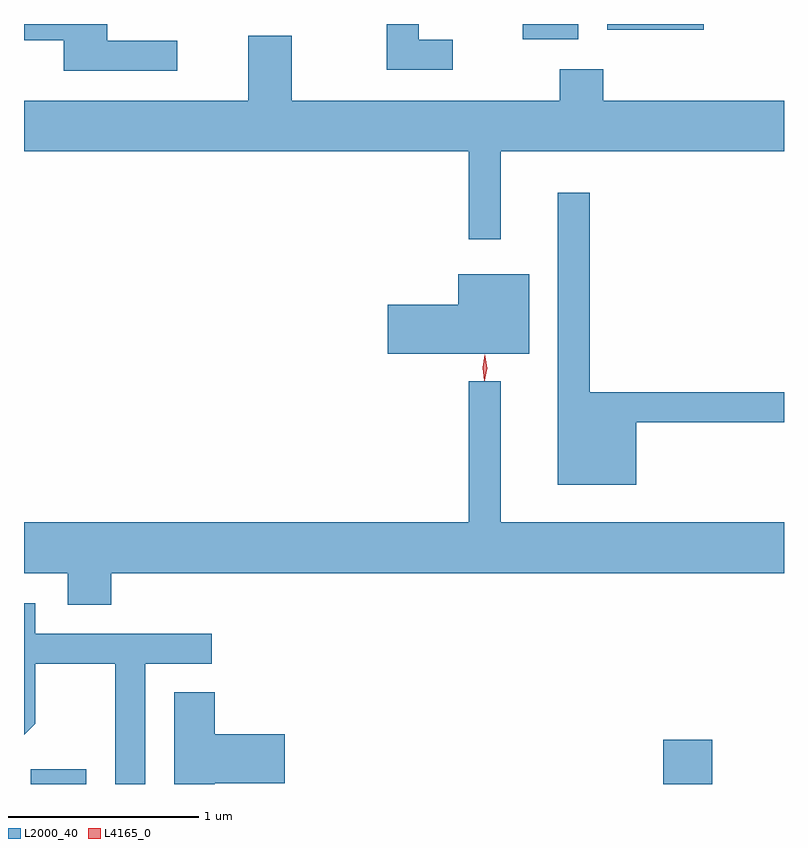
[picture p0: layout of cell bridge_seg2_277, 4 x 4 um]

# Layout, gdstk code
import gdstk
lib = gdstk.Library(unit=1e-6, precision=1e-09)
def R(c, l, rs):  # rectangles x0, y0, x1, y1
    for r in rs: c.add(gdstk.rectangle(r[:2], r[2:], *l))
def P(c, l, *ps):  # polygons
    for p in ps: c.add(gdstk.Polygon(p, *l))
L2000_40 = (2000, 40)
L4165_0 = (4165, 0)

bridge_seg2_277 = lib.new_cell('bridge_seg2_277')
R(bridge_seg2_277, L2000_40, [(596.366,1060.527,596.659,1060.604), (599.696,1060.527,599.954,1060.759), (598.956,1064.446,599.249,1064.527), (599.401,1064.496,599.908,1064.527)])
P(bridge_seg2_277, L2000_40, [(597.138,1064.439),(596.769,1064.439),(596.769,1064.527),(596.331,1064.527),(596.331,1064.441),(596.541,1064.441),(596.541,1064.281),(597.138,1064.281)],
  [(598.588,1064.444),(598.409,1064.444),(598.409,1064.527),(598.241,1064.527),(598.241,1064.286),(598.588,1064.286)],
  [(598.839,1063.856),(600.331,1063.856),(600.331,1064.124),(599.379,1064.124),(599.379,1064.289),(599.151,1064.289),(599.151,1064.124),(597.739,1064.124),(597.739,1064.464),(597.511,1064.464),(597.511,1064.124),(596.331,1064.124),(596.331,1063.856),(598.671,1063.856),(598.671,1063.393),(598.839,1063.393)],
  [(599.554,1062.431),(600.331,1062.431),(600.331,1062.589),(599.309,1062.589),(599.309,1063.638),(599.141,1063.638),(599.141,1062.101),(599.554,1062.101)],
  [(598.989,1063.209),(598.616,1063.209),(598.616,1063.049),(598.246,1063.049),(598.246,1062.791),(598.989,1062.791)],
  [(596.789,1061.636),(600.331,1061.636),(600.331,1061.904),(598.839,1061.904),(598.839,1062.648),(598.671,1062.648),(598.671,1061.904),(596.331,1061.904),(596.331,1061.636),(596.561,1061.636),(596.561,1061.471),(596.789,1061.471)],
  [(596.969,1061.161),(597.318,1061.161),(597.318,1061.319),(596.389,1061.319),(596.389,1061.479),(596.331,1061.479),(596.331,1060.786),(596.389,1060.844),(596.389,1061.161),(596.811,1061.161),(596.811,1060.527),(596.969,1060.527)],
  [(597.334,1060.531),(597.704,1060.531),(597.704,1060.789),(597.334,1060.789),(597.334,1061.009),(597.121,1061.009),(597.121,1060.527),(597.334,1060.527)])
P(bridge_seg2_277, L4165_0, [(598.756,1062.653),(598.756,1062.654),(598.748,1062.716),(598.758,1062.779),(598.758,1062.78),(598.759,1062.779),(598.768,1062.716),(598.757,1062.654)],
  [(598.754,1062.65),(598.746,1062.718),(598.756,1062.786),(598.757,1062.786),(598.757,1062.786),(598.766,1062.718),(598.755,1062.65),(598.755,1062.65)])

lib.write_gds('bridge_seg2_277.gds')
